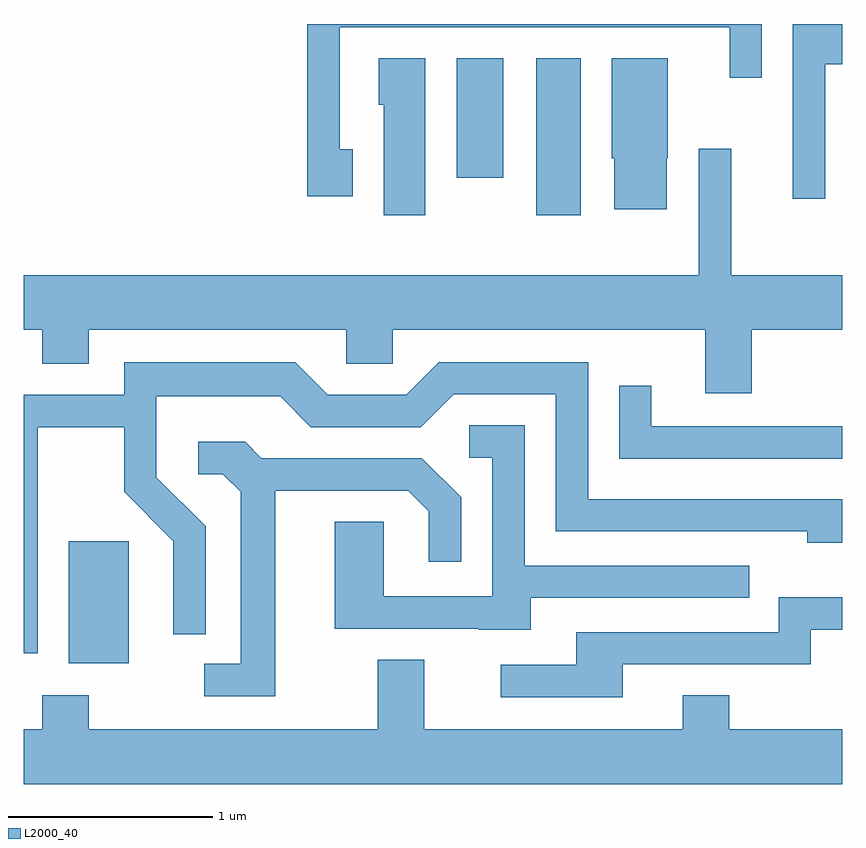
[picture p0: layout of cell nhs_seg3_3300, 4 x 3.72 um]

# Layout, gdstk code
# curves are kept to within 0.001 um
import gdstk
lib = gdstk.Library(unit=1e-6, precision=1e-09)
def R(c, l, rs):  # rectangles x0, y0, x1, y1
    for r in rs: c.add(gdstk.rectangle(r[:2], r[2:], *l))
def P(c, l, *ps):  # polygons
    for p in ps: c.add(gdstk.Polygon(p, *l))
L2000_40 = (2000, 40)

nhs_seg3_3300 = lib.new_cell('nhs_seg3_3300')
R(nhs_seg3_3300, L2000_40, [(281.831,1188.766,282.124,1189.364), (284.116,1190.956,284.334,1191.724), (283.726,1191.141,283.954,1191.724)])
P(nhs_seg3_3300, L2000_40, [(285.529,1191.696),(285.611,1191.696),(285.611,1191.892),(285.371,1191.892),(285.371,1191.038),(285.529,1191.038)],
  [(283.219,1191.279),(283.154,1191.279),(283.154,1191.876),(285.061,1191.876),(285.061,1191.628),(285.219,1191.628),(285.219,1191.892),(282.996,1191.892),(282.996,1191.051),(283.219,1191.051)],
  [(284.754,1191.235),(284.759,1191.235),(284.759,1191.724),(284.486,1191.724),(284.486,1191.235),(284.496,1191.235),(284.496,1190.986),(284.754,1190.986)],
  [(283.574,1191.724),(283.346,1191.724),(283.346,1191.496),(283.371,1191.496),(283.371,1190.956),(283.574,1190.956)],
  [(285.169,1190.396),(285.611,1190.396),(285.611,1190.664),(285.069,1190.664),(285.069,1191.283),(284.911,1191.283),(284.911,1190.664),(281.611,1190.664),(281.611,1190.396),(281.701,1190.396),(281.701,1190.231),(281.929,1190.231),(281.929,1190.396),(283.186,1190.396),(283.186,1190.231),(283.414,1190.231),(283.414,1190.396),(284.941,1190.396),(284.941,1190.086),(285.169,1190.086)],
  [(281.679,1189.921),(282.101,1189.921),(282.101,1189.604),(282.341,1189.364),(282.341,1188.908),(282.499,1188.908),(282.499,1189.437),(282.259,1189.677),(282.259,1190.071),(282.864,1190.071),(283.014,1189.921),(283.552,1189.921),(283.712,1190.081),(284.211,1190.081),(284.211,1189.411),(285.441,1189.411),(285.441,1189.356),(285.611,1189.356),(285.611,1189.569),(284.369,1189.569),(284.369,1190.239),(283.639,1190.239),(283.479,1190.079),(283.097,1190.079),(282.937,1190.239),(282.101,1190.239),(282.101,1190.079),(281.611,1190.079),(281.611,1188.816),(281.679,1188.816)],
  [(285.611,1189.924),(284.679,1189.924),(284.679,1190.123),(284.521,1190.123),(284.521,1189.766),(285.611,1189.766)],
  [(284.089,1189.086),(285.158,1189.086),(285.158,1189.244),(284.059,1189.244),(284.059,1189.929),(283.788,1189.929),(283.788,1189.771),(283.901,1189.771),(283.901,1189.094),(283.369,1189.094),(283.369,1189.459),(283.131,1189.459),(283.131,1188.936),(283.835,1188.936),(283.835,1188.931),(284.089,1188.931)],
  [(282.839,1189.611),(283.489,1189.611),(283.591,1189.509),(283.591,1189.263),(283.749,1189.263),(283.749,1189.577),(283.557,1189.769),(282.772,1189.769),(282.692,1189.849),(282.463,1189.849),(282.463,1189.691),(282.584,1189.691),(282.671,1189.604),(282.671,1188.764),(282.493,1188.764),(282.493,1188.606),(282.839,1188.606)],
  [(284.539,1188.761),(285.459,1188.761),(285.459,1188.931),(285.611,1188.931),(285.611,1189.089),(285.301,1189.089),(285.301,1188.919),(284.311,1188.919),(284.311,1188.759),(283.943,1188.759),(283.943,1188.601),(284.539,1188.601)],
  [(285.611,1188.444),(285.059,1188.444),(285.059,1188.609),(284.831,1188.609),(284.831,1188.444),(283.569,1188.444),(283.569,1188.784),(283.341,1188.784),(283.341,1188.444),(281.929,1188.444),(281.929,1188.609),(281.701,1188.609),(281.701,1188.444),(281.611,1188.444),(281.611,1188.176),(285.611,1188.176)])

lib.write_gds('nhs_seg3_3300.gds')
